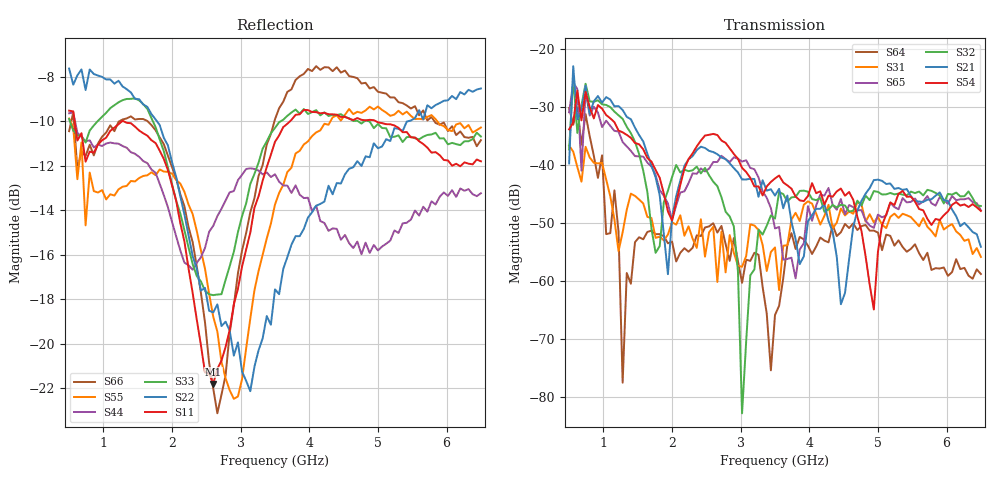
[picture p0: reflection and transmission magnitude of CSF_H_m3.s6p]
!Keysight Technologies,M9804A,MY58100912,A.14.10.03
!Date: Thursday, April 27, 2023 10:28:33
!Correction: S11(C  6-Port  )
!S12(C  6-Port  )
!S13(C  6-Port  )
!S14(C  6-Port  )
!S15(C  6-Port  )
!S16(C  6-Port  )
!S21(C  6-Port  )
!S22(C  6-Port  )
!S23(C  6-Port  )
!S24(C  6-Port  )
!S25(C  6-Port  )
!S26(C  6-Port  )
!S31(C  6-Port  )
!S32(C  6-Port  )
!S33(C  6-Port  )
!S34(C  6-Port  )
!S35(C  6-Port  )
!S36(C  6-Port  )
!S41(C  6-Port  )
!S42(C  6-Port  )
!S43(C  6-Port  )
!S44(C  6-Port  )
!S45(C  6-Port  )
!S46(C  6-Port  )
!S51(C  6-Port  )
!S52(C  6-Port  )
!S53(C  6-Port  )
!S54(C  6-Port  )
!S55(C  6-Port  )
!S56(C  6-Port  )
!S61(C  6-Port  )
!S62(C  6-Port  )
!S63(C  6-Port  )
!S64(C  6-Port  )
!S65(C  6-Port  )
!S66(C  6-Port  )
!S6P File: Measurement: :
# Hz S  RI  R 50
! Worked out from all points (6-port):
!   101 points, 500 MHz to 6.5 GHz, reference 50 ohm
!   strongest paths, dB at 500 MHz, 2 GHz, 3.5 GHz, 5 GHz, 6.5 GHz:
!     S54: -33.8, -49.5, -42.3, -54.9, -47.9
!     S21: -39.7, -49.0, -45.2, -42.5, -54.1
!     S32: -37.3, -42.1, -49.2, -44.6, -47.0
!     S65: -30.9, -49.5, -50.9, -48.5, -47.8
!     S31: -36.6, -49.8, -54.2, -48.9, -55.8
!     S64: -30.2, -53.2, -65.8, -51.6, -58.8
!   lowest |S11| = -21.8 dB at 2.6 GHz (marker M1), VSWR 1.18, Z = 42.7 + j1.91 ohm
!   |S11| at or under -10 dB: 580.5 MHz to 1.271 GHz (690.1 MHz wide, 74.6 % of centre); 1.296 GHz to 3.717 GHz (2.421 GHz wide, 96.6 % of centre); 4.974 GHz to end of sweep
